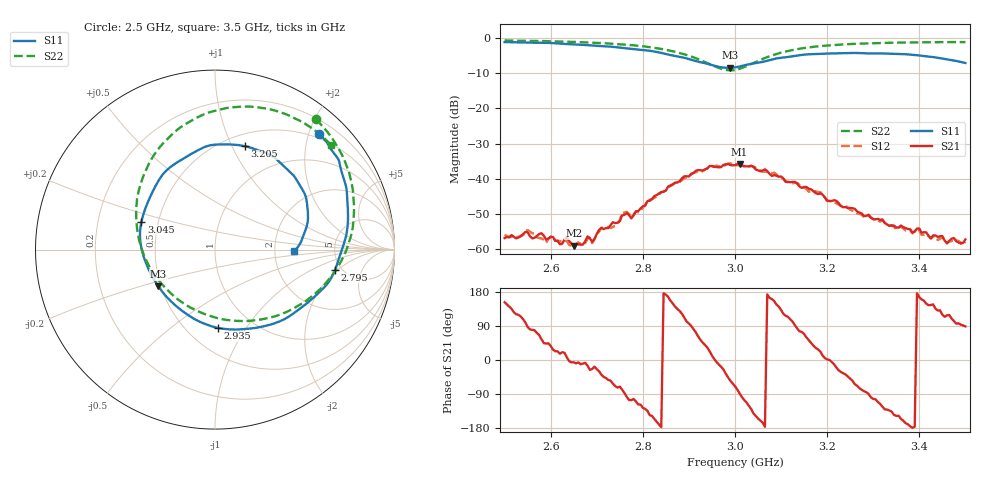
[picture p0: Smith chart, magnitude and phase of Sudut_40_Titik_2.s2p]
# Hz S RI R 50
! CMT, C1220, 16058040, 17.2.0/1
! Date: 15/08/2018 10:48:11
! Data: Format (Calibration Info)
! Freq  S11: Re/Im (F2)  S21: Re/Im (F2)  S12: Re/Im (F2)  S22: Re/Im (F2)
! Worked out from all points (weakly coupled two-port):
!   201 points, 2.5 GHz to 3.5 GHz, reference 50 ohm
!   highest |S21| = -35.76 dB at 3.01 GHz (marker M1); lowest = -58.9 dB at 2.65 GHz (marker M2)
!   lowest |S11| = -8.5 dB at 2.99 GHz (marker M3), VSWR 2.20, Z = 24.2 - j11.5 ohm
!   |S11| at or under -10 dB: nowhere
!   |S22| runs from -9.2 to -0.7 dB; largest |S21 - S12| = 0.0011
!   S11 on the Smith chart (normalised r, x): 2.5 GHz: 0.41, +2.18; 2.795 GHz: 4.43, -1.83; 2.935 GHz: 0.70, -0.75; 3.045 GHz: 0.40, +0.16; 3.205 GHz: 0.62, +1.12; 3.5 GHz: 2.57, -0.06
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2.5e9  0.5816 0.6462  -0.00128 0.000668  -0.00144 0.000699  0.5633 0.7252
2.55e9  0.6377 0.5723  8.61e-05 0.00175  -0.000127 0.00188  0.6192 0.6644
2.58e9  0.6799 0.5145  0.000977 0.00139  0.000875 0.00113  0.6518 0.6214
2.65e9  0.7313 0.3458  0.00113 -0.000118  0.00111 3.04e-05  0.7213 0.4979
2.67e9  0.7354 0.3057  0.00115 -0.00019  0.00111 -0.000242  0.7383 0.4544
2.74e9  0.7338 0.0931  0.000854 -0.0022  0.000906 -0.00194  0.7723 0.2735
2.755e9  0.7198 0.0384  0.000613 -0.00296  0.000847 -0.00318  0.7749 0.2287
2.775e9  0.6975 -0.0289  -0.000762 -0.00264  -0.000932 -0.00269  0.7716 0.162
2.795e9  0.6695 -0.1116  -0.00177 -0.00338  -0.00168 -0.0031  0.7614 0.091
2.835e9  0.5714 -0.2468  -0.00609 -0.00109  -0.00583 -0.00129  0.7019 -0.0663
2.935e9  0.0157 -0.4363  0.0105 0.00867  0.0101 0.0091  0.2253 -0.3936
2.99e9  -0.3157 -0.2038  0.00903 -0.0128  0.00974 -0.0133  -0.2106 -0.2749
3e9  -0.3548 -0.1406  0.0055 -0.0146  0.00473 -0.015  -0.2763 -0.2139
3.01e9  -0.3854 -0.0722  0.000468 -0.0163  0.000463 -0.0155  -0.3342 -0.145
3.045e9  -0.4095 0.156  -0.0115 -0.00725  -0.012 -0.00781  -0.4357 0.131
3.1e9  -0.2525 0.4567  -0.00724 0.00805  -0.00663 0.00807  -0.3536 0.5055
3.17e9  0.0338 0.5864  0.00528 0.00415  0.00501 0.00451  -0.0899 0.7409
3.205e9  0.1663 0.5761  0.00484 7.02e-06  0.00485 -0.000305  0.038 0.7827
3.335e9  0.4652 0.371  -0.00147 -0.00157  -0.00156 -0.00151  0.3919 0.7554
3.4e9  0.5165 0.2225  -0.00191 0.000487  -0.00177 0.000564  0.5094 0.6963
3.46e9  0.4895 0.0701  -0.000567 0.00108  -0.00054 0.00109  0.5973 0.6318
3.5e9  0.4395 -0.00994  3.25e-05 0.00139  0.00012 0.00127  0.6446 0.5845
